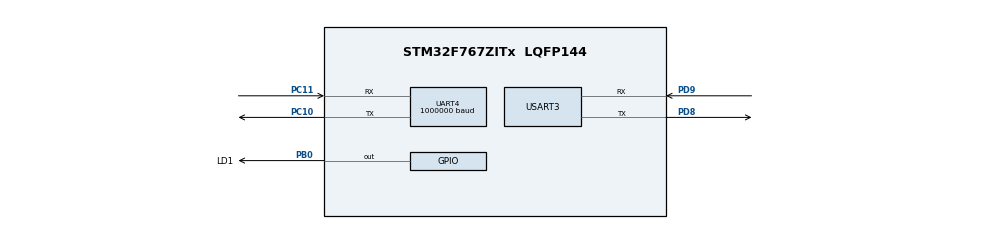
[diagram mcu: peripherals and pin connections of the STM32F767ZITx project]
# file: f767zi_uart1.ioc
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CORTEX_M7.default_mode_Activation=1
Dma.Request0=UART4_RX
Dma.UART4_RX.0.Direction=DMA_PERIPH_TO_MEMORY
Dma.UART4_RX.0.FIFOMode=DMA_FIFOMODE_DISABLE
Dma.UART4_RX.0.Instance=DMA1_Stream2
Dma.UART4_RX.0.MemDataAlignment=DMA_MDATAALIGN_BYTE
Dma.UART4_RX.0.MemInc=DMA_MINC_ENABLE
Dma.UART4_RX.0.Mode=DMA_CIRCULAR
Dma.UART4_RX.0.PeriphDataAlignment=DMA_PDATAALIGN_BYTE
Dma.UART4_RX.0.PeriphInc=DMA_PINC_DISABLE
Dma.UART4_RX.0.Priority=DMA_PRIORITY_LOW
Mcu.Family=STM32F7
Mcu.Name=STM32F767ZITx
Mcu.Package=LQFP144
Mcu.UserConstants=SAMPLE_RANGE,1000
NVIC.DMA1_Stream2_IRQn=true\:0\:0\:false\:false\:true\:false\:true\:true
NVIC.PriorityGroup=NVIC_PRIORITYGROUP_4
NVIC.TIM6_DAC_IRQn=true\:0\:0\:false\:false\:true\:true\:true\:true
NVIC.UART4_IRQn=true\:0\:0\:false\:false\:true\:true\:true\:true
PA13.Mode=Serial_Wire
PA13.Signal=SYS_JTMS-SWDIO
PA14.Mode=Serial_Wire
PA14.Signal=SYS_JTCK-SWCLK
PB0.GPIO_Label=LD1
PB0.Signal=GPIO_Output
PC10.Mode=Asynchronous
PC10.Signal=UART4_TX
PC11.Mode=Asynchronous
PC11.Signal=UART4_RX
PD8.Mode=Asynchronous
PD8.Signal=USART3_TX
PD9.Mode=Asynchronous
PD9.Signal=USART3_RX
PH0/OSC_IN.Mode=HSE-External-Oscillator
PH0/OSC_IN.Signal=RCC_OSC_IN
PH1/OSC_OUT.Mode=HSE-External-Oscillator
PH1/OSC_OUT.Signal=RCC_OSC_OUT
ProjectManager.HeapSize=0x200
ProjectManager.StackSize=0x400
ProjectManager.TargetToolchain=STM32CubeIDE
RCC.HSE_VALUE=25000000
RCC.HSI_VALUE=16000000
RCC.LSE_VALUE=32768
RCC.USBFreq_Value=96000000
RCC.VCOOutputFreq_Value=192000000
TIM6.Period=30000-1
TIM6.Prescaler=16-1
UART4.BaudRate=1000000
USART3.VirtualMode-Asynchronous=VM_ASYNC
VP_TIM6_VS_ClockSourceINT.Mode=Enable_Timer
board=custom

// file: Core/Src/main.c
/* USER CODE BEGIN Header */
/**
 ******************************************************************************
 * @file           : main.c
 * @brief          : Main program body
 ******************************************************************************
 * @attention
 *
 * Copyright (c) 2025 STMicroelectronics.
 * All rights reserved.
 *
 * This software is licensed under terms that can be found in the LICENSE file
 * in the root directory of this software component.
 * If no LICENSE file comes with this software, it is provided AS-IS.
 *
 ******************************************************************************
 */
/* USER CODE END Header */
#include "main.h"

/* USER CODE BEGIN Includes */
#include <stdio.h>
#include <stdbool.h>
#include <math.h>
#include <string.h>
/* USER CODE END Includes */

/* USER CODE BEGIN PD */
#define BUFFER_SIZE 64
/* USER CODE END PD */

TIM_HandleTypeDef htim6;

UART_HandleTypeDef huart4;
UART_HandleTypeDef huart3;
DMA_HandleTypeDef hdma_uart4_rx;

/* USER CODE BEGIN PV */
char transmit_buffer[BUFFER_SIZE];
char receive_buffer[BUFFER_SIZE];
uint8_t dma_buffer[BUFFER_SIZE];
/* USER CODE END PV */

void SystemClock_Config(void);
static void MPU_Config(void);
static void MX_GPIO_Init(void);
static void MX_DMA_Init(void);
static void MX_USART3_UART_Init(void);
static void MX_UART4_Init(void);
static void MX_TIM6_Init(void);

/* USER CODE BEGIN 0 */

/* redirect printf to uart3
 fd == file descriptor. 1 = stdout, 2 stderr
 ptr == pointer to the data being sent
 len == length of the data (in bytes)
 */
int _write(int fd, char *ptr, int len) {
	HAL_StatusTypeDef hstatus;

	if (fd == 1 || fd == 2) {
		hstatus = HAL_UART_Transmit(&huart3, (uint8_t*) ptr, len, HAL_MAX_DELAY);
		if (hstatus == HAL_OK)
			return len;
		else
			return -1;
	}
	return -1;
}

void HAL_TIM_PeriodElapsedCallback(TIM_HandleTypeDef *htim){
	if (htim->Instance == TIM6){
		HAL_GPIO_WritePin(LD1_GPIO_Port,LD1_Pin,GPIO_PIN_SET);
		HAL_TIM_Base_Stop(&htim6);
	}
}

void flash_led() {
	HAL_GPIO_WritePin(LD1_GPIO_Port, LD1_Pin, GPIO_PIN_RESET);
	if (__HAL_TIM_GET_COUNTER(&htim6) == 1) {
		HAL_TIM_Base_Start_IT(&htim6);
	} else {
		__HAL_TIM_SET_COUNTER(&htim6, 1);
	}
}

void process_character(char ch) {
	static uint32_t strlen = 0;
	switch (ch) {
	case '\0':
		printf("Received    : %s \r\n", receive_buffer);
		receive_buffer[0] = '\0';
		strlen = 0;
		break;
	default:
		if (strlen < BUFFER_SIZE) {
			strncat((char*) &receive_buffer, &ch, 1);
			++strlen;
		}
	}
}

void HAL_UARTEx_RxEventCallback(UART_HandleTypeDef *huart, uint16_t offset) {
	static uint16_t last_offset = 0;

	flash_led();

	// Ignore if called twice (which will happen on every half buffer)
	if (offset != last_offset) {

		// If wrap around reset last_size
		if (offset < last_offset)
			last_offset = 0;

		while (last_offset < offset) {
			process_character((char) dma_buffer[last_offset]);
			++last_offset;
		}
	}
}

void HAL_UART_ErrorCallback(UART_HandleTypeDef *huart) {
	printf("UART Error \r\n");
	if (huart == &huart4) {
		uint32_t err_code = huart->ErrorCode;
		printf("UART4 Error Code: 0x%08lx\r\n", err_code);
		if (err_code & HAL_UART_ERROR_NE)
			printf(" - Noise Error\r\n");
		if (err_code & HAL_UART_ERROR_FE)
			printf(" - Framing Error\r\n");
		if (err_code & HAL_UART_ERROR_ORE)
			printf(" - Overrun Error\r\n");

		// Clear error flags and restart
		huart->ErrorCode = HAL_UART_ERROR_NONE;
		// Restart DMA
		HAL_UART_AbortReceive(&huart4);
		HAL_UARTEx_ReceiveToIdle_DMA(&huart4, (uint8_t*) dma_buffer, BUFFER_SIZE);
	}
	Error_Handler();
}

/* USER CODE END 0 */

int main(void)
{

  /* MPU Configuration--------------------------------------------------------*/
  MPU_Config();

  /* MCU Configuration--------------------------------------------------------*/

  /* Reset of all peripherals, Initializes the Flash interface and the Systick. */
  HAL_Init();

  /* Configure the system clock */
  SystemClock_Config();

  /* Initialize all configured peripherals */
  MX_GPIO_Init();
  MX_DMA_Init();
  MX_USART3_UART_Init();
  MX_UART4_Init();
  MX_TIM6_Init();
  /* USER CODE BEGIN 2 */
	// Optional delay to let UART stabilize
	HAL_Delay(2);
	printf("Starting UART1 code...\r\n");
	// Stop any previous DMA reception
	HAL_UART_AbortReceive(&huart4);
	// Wait for stream to clear
	while (hdma_uart4_rx.State != HAL_DMA_STATE_READY && hdma_uart4_rx.Instance->CR & DMA_SxCR_EN) {
	}
	if (HAL_UART_GetState(&huart4) == HAL_UART_STATE_READY) {
		HAL_Delay(2);
		HAL_UARTEx_ReceiveToIdle_DMA(&huart4, (uint8_t*) dma_buffer, BUFFER_SIZE);
	} else {
		printf("UART4 was not ready. \r\n");
	}
  /* USER CODE END 2 */

  /* Infinite loop */
  /* USER CODE BEGIN WHILE */
	uint32_t now = 0, next_tick = 1000, loop_counter = 0, next_tx = 1000, tx_count = 1;
	while (1) {
		now = uwTick;
		if (now >= next_tick) {
			printf("Tick %lu (loop = %lu). \r\n", now / 1000, loop_counter);
			loop_counter = 0;
			next_tick = now + 1000;
		}

		if (now >= next_tx) {
			sprintf(transmit_buffer, "This is a reasonably long data string with a number %lu", tx_count);

			printf("Transmitting: %s \r\n", transmit_buffer);

			HAL_UART_Transmit(&huart4, (uint8_t*) &transmit_buffer, strlen(transmit_buffer) + 1, HAL_MAX_DELAY);
			++tx_count;
			next_tx = now + 1000;
		}
		++loop_counter;

	}
    /* USER CODE END WHILE */

}

void SystemClock_Config(void)
{
  RCC_OscInitTypeDef RCC_OscInitStruct = {0};
  RCC_ClkInitTypeDef RCC_ClkInitStruct = {0};

  /** Configure the main internal regulator output voltage
  */
  __HAL_RCC_PWR_CLK_ENABLE();
  __HAL_PWR_VOLTAGESCALING_CONFIG(PWR_REGULATOR_VOLTAGE_SCALE3);

  /** Initializes the RCC Oscillators according to the specified parameters
  * in the RCC_OscInitTypeDef structure.
  */
  RCC_OscInitStruct.OscillatorType = RCC_OSCILLATORTYPE_HSI;
  RCC_OscInitStruct.HSIState = RCC_HSI_ON;
  RCC_OscInitStruct.HSICalibrationValue = RCC_HSICALIBRATION_DEFAULT;
  RCC_OscInitStruct.PLL.PLLState = RCC_PLL_NONE;
  if (HAL_RCC_OscConfig(&RCC_OscInitStruct) != HAL_OK)
  {
    Error_Handler();
  }

  /** Initializes the CPU, AHB and APB buses clocks
  */
  RCC_ClkInitStruct.ClockType = RCC_CLOCKTYPE_HCLK|RCC_CLOCKTYPE_SYSCLK
                              |RCC_CLOCKTYPE_PCLK1|RCC_CLOCKTYPE_PCLK2;
  RCC_ClkInitStruct.SYSCLKSource = RCC_SYSCLKSOURCE_HSI;
  RCC_ClkInitStruct.AHBCLKDivider = RCC_SYSCLK_DIV1;
  RCC_ClkInitStruct.APB1CLKDivider = RCC_HCLK_DIV1;
  RCC_ClkInitStruct.APB2CLKDivider = RCC_HCLK_DIV1;

  if (HAL_RCC_ClockConfig(&RCC_ClkInitStruct, FLASH_LATENCY_0) != HAL_OK)
  {
    Error_Handler();
  }
}

static void MX_TIM6_Init(void)
{

  TIM_MasterConfigTypeDef sMasterConfig = {0};

  htim6.Instance = TIM6;
  htim6.Init.Prescaler = 16-1;
  htim6.Init.CounterMode = TIM_COUNTERMODE_UP;
  htim6.Init.Period = 30000-1;
  htim6.Init.AutoReloadPreload = TIM_AUTORELOAD_PRELOAD_DISABLE;
  if (HAL_TIM_Base_Init(&htim6) != HAL_OK)
  {
    Error_Handler();
  }
  sMasterConfig.MasterOutputTrigger = TIM_TRGO_RESET;
  sMasterConfig.MasterSlaveMode = TIM_MASTERSLAVEMODE_DISABLE;
  if (HAL_TIMEx_MasterConfigSynchronization(&htim6, &sMasterConfig) != HAL_OK)
  {
    Error_Handler();
  }

}

static void MX_UART4_Init(void)
{

  huart4.Instance = UART4;
  huart4.Init.BaudRate = 1000000;
  huart4.Init.WordLength = UART_WORDLENGTH_8B;
  huart4.Init.StopBits = UART_STOPBITS_1;
  huart4.Init.Parity = UART_PARITY_NONE;
  huart4.Init.Mode = UART_MODE_TX_RX;
  huart4.Init.HwFlowCtl = UART_HWCONTROL_NONE;
  huart4.Init.OverSampling = UART_OVERSAMPLING_16;
  huart4.Init.OneBitSampling = UART_ONE_BIT_SAMPLE_DISABLE;
  huart4.AdvancedInit.AdvFeatureInit = UART_ADVFEATURE_NO_INIT;
  if (HAL_UART_Init(&huart4) != HAL_OK)
  {
    Error_Handler();
  }

}

static void MX_USART3_UART_Init(void)
{

  huart3.Instance = USART3;
  huart3.Init.BaudRate = 115200;
  huart3.Init.WordLength = UART_WORDLENGTH_8B;
  huart3.Init.StopBits = UART_STOPBITS_1;
  huart3.Init.Parity = UART_PARITY_NONE;
  huart3.Init.Mode = UART_MODE_TX_RX;
  huart3.Init.HwFlowCtl = UART_HWCONTROL_NONE;
  huart3.Init.OverSampling = UART_OVERSAMPLING_16;
  huart3.Init.OneBitSampling = UART_ONE_BIT_SAMPLE_DISABLE;
  huart3.AdvancedInit.AdvFeatureInit = UART_ADVFEATURE_NO_INIT;
  if (HAL_UART_Init(&huart3) != HAL_OK)
  {
    Error_Handler();
  }

}

static void MX_DMA_Init(void)
{

  /* DMA controller clock enable */
  __HAL_RCC_DMA1_CLK_ENABLE();

  /* DMA interrupt init */
  /* DMA1_Stream2_IRQn interrupt configuration */
  HAL_NVIC_SetPriority(DMA1_Stream2_IRQn, 0, 0);
  HAL_NVIC_EnableIRQ(DMA1_Stream2_IRQn);

}

static void MX_GPIO_Init(void)
{
  GPIO_InitTypeDef GPIO_InitStruct = {0};

  /* GPIO Ports Clock Enable */
  __HAL_RCC_GPIOH_CLK_ENABLE();
  __HAL_RCC_GPIOB_CLK_ENABLE();
  __HAL_RCC_GPIOD_CLK_ENABLE();
  __HAL_RCC_GPIOA_CLK_ENABLE();
  __HAL_RCC_GPIOC_CLK_ENABLE();

  /*Configure GPIO pin Output Level */
  HAL_GPIO_WritePin(LD1_GPIO_Port, LD1_Pin, GPIO_PIN_RESET);

  /*Configure GPIO pin : LD1_Pin */
  GPIO_InitStruct.Pin = LD1_Pin;
  GPIO_InitStruct.Mode = GPIO_MODE_OUTPUT_PP;
  GPIO_InitStruct.Pull = GPIO_NOPULL;
  GPIO_InitStruct.Speed = GPIO_SPEED_FREQ_LOW;
  HAL_GPIO_Init(LD1_GPIO_Port, &GPIO_InitStruct);

}

 /* MPU Configuration */

void MPU_Config(void)
{
  MPU_Region_InitTypeDef MPU_InitStruct = {0};

  /* Disables the MPU */
  HAL_MPU_Disable();

  /** Initializes and configures the Region and the memory to be protected
  */
  MPU_InitStruct.Enable = MPU_REGION_ENABLE;
  MPU_InitStruct.Number = MPU_REGION_NUMBER0;
  MPU_InitStruct.BaseAddress = 0x0;
  MPU_InitStruct.Size = MPU_REGION_SIZE_4GB;
  MPU_InitStruct.SubRegionDisable = 0x87;
  MPU_InitStruct.TypeExtField = MPU_TEX_LEVEL0;
  MPU_InitStruct.AccessPermission = MPU_REGION_NO_ACCESS;
  MPU_InitStruct.DisableExec = MPU_INSTRUCTION_ACCESS_DISABLE;
  MPU_InitStruct.IsShareable = MPU_ACCESS_SHAREABLE;
  MPU_InitStruct.IsCacheable = MPU_ACCESS_NOT_CACHEABLE;
  MPU_InitStruct.IsBufferable = MPU_ACCESS_NOT_BUFFERABLE;

  HAL_MPU_ConfigRegion(&MPU_InitStruct);
  /* Enables the MPU */
  HAL_MPU_Enable(MPU_PRIVILEGED_DEFAULT);

}

void Error_Handler(void)
{
	__disable_irq();
	while (1) {
	}
}
